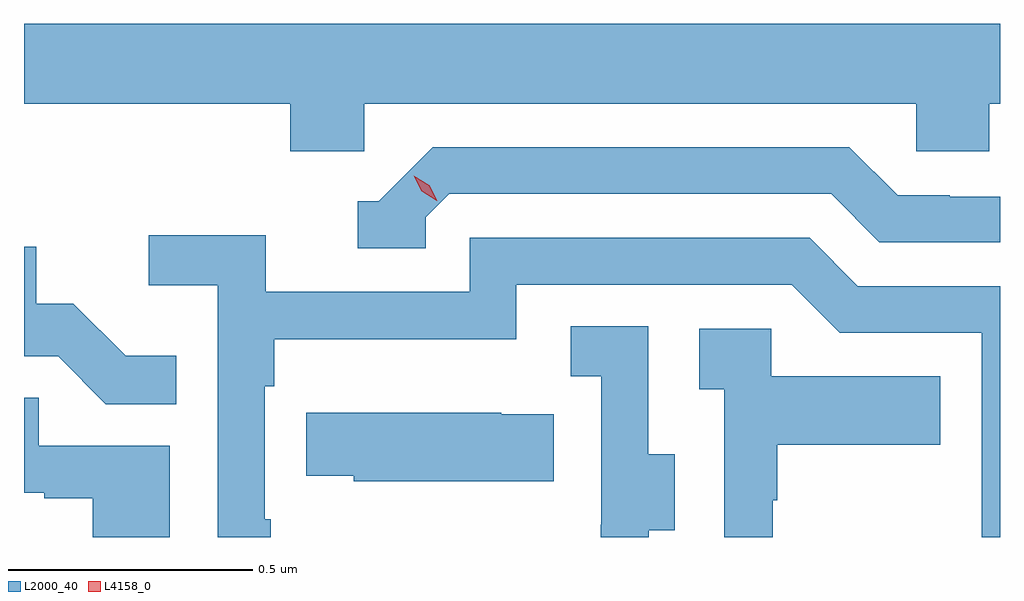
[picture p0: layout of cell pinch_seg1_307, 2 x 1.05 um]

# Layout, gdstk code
import gdstk
lib = gdstk.Library(unit=1e-6, precision=1e-09)
def P(c, l, *ps):  # polygons
    for p in ps: c.add(gdstk.Polygon(p, *l))
L2000_40 = (2000, 40)
L4158_0 = (4158, 0)

pinch_seg1_307 = lib.new_cell('pinch_seg1_307')
P(pinch_seg1_307, L2000_40, [(938.904,551.732),(940.035,551.732),(940.035,551.634),(940.185,551.634),(940.185,551.732),(940.207,551.732),(940.207,551.896),(938.207,551.896),(938.207,551.732),(938.753,551.732),(938.753,551.634),(938.904,551.634)],
  [(939.03,551.499),(939.078,551.547),(939.861,551.547),(939.96,551.448),(940.207,551.448),(940.207,551.541),(940.104,551.541),(940.104,551.544),(939.997,551.544),(939.898,551.643),(939.045,551.643),(938.934,551.532),(938.891,551.532),(938.891,551.436),(939.03,551.436)],
  [(938.713,550.88),(938.7,550.88),(938.7,551.153),(938.72,551.153),(938.72,551.249),(939.216,551.249),(939.216,551.361),(939.78,551.361),(939.879,551.262),(940.17,551.262),(940.17,550.843),(940.207,550.843),(940.207,551.358),(939.916,551.358),(939.817,551.457),(939.12,551.457),(939.12,551.346),(938.702,551.346),(938.702,551.462),(938.463,551.462),(938.463,551.36),(938.604,551.36),(938.604,550.843),(938.713,550.843)],
  [(938.519,551.215),(938.415,551.215),(938.308,551.322),(938.232,551.322),(938.232,551.439),(938.207,551.439),(938.207,551.214),(938.277,551.214),(938.375,551.116),(938.519,551.116)],
  [(939.487,550.858),(939.541,550.858),(939.541,551.013),(939.486,551.013),(939.486,551.276),(939.327,551.276),(939.327,551.173),(939.39,551.173),(939.39,550.869),(939.389,550.869),(939.389,550.843),(939.487,550.843)],
  [(939.741,550.919),(939.751,550.919),(939.751,551.033),(940.085,551.033),(940.085,551.173),(939.738,551.173),(939.738,551.271),(939.591,551.271),(939.591,551.147),(939.642,551.147),(939.642,550.843),(939.741,550.843)],
  [(938.506,551.031),(938.237,551.031),(938.237,551.129),(938.207,551.129),(938.207,550.935),(938.249,550.935),(938.249,550.923),(938.348,550.923),(938.348,550.843),(938.506,550.843)],
  [(939.293,551.095),(939.185,551.095),(939.185,551.098),(938.785,551.098),(938.785,550.969),(938.883,550.969),(938.883,550.958),(939.293,550.958)])
P(pinch_seg1_307, L4158_0, [(939.053,551.533),(939.022,551.552),(939.006,551.584),(939.006,551.584),(939.006,551.584),(939.037,551.565),(939.054,551.533),(939.054,551.533)])

lib.write_gds('pinch_seg1_307.gds')
